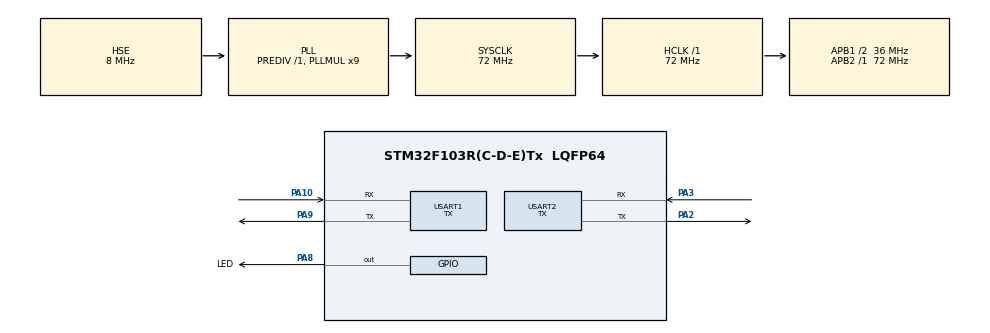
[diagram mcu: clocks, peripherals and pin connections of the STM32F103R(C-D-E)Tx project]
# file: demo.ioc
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Mcu.Family=STM32F1
Mcu.Name=STM32F103R(C-D-E)Tx
Mcu.Package=LQFP64
NVIC.PriorityGroup=NVIC_PRIORITYGROUP_4
NVIC.USART1_IRQn=true\:0\:0\:false\:false\:true\:true\:true\:true
PA10.Mode=Asynchronous
PA10.Signal=USART1_RX
PA13.Mode=Serial_Wire
PA13.Signal=SYS_JTMS-SWDIO
PA14.Mode=Serial_Wire
PA14.Signal=SYS_JTCK-SWCLK
PA2.Mode=Asynchronous
PA2.Signal=USART2_TX
PA3.Mode=Asynchronous
PA3.Signal=USART2_RX
PA8.GPIO_Label=LED
PA8.Signal=GPIO_Output
PA9.Mode=Asynchronous
PA9.Signal=USART1_TX
PD0-OSC_IN.Mode=HSE-External-Oscillator
PD0-OSC_IN.Signal=RCC_OSC_IN
PD1-OSC_OUT.Mode=HSE-External-Oscillator
PD1-OSC_OUT.Signal=RCC_OSC_OUT
ProjectManager.HeapSize=0x200
ProjectManager.StackSize=0x400
ProjectManager.TargetToolchain=MDK-ARM V5
RCC.AHBFreq_Value=72000000
RCC.APB1CLKDivider=RCC_HCLK_DIV2
RCC.APB1Freq_Value=36000000
RCC.APB1TimFreq_Value=72000000
RCC.APB2Freq_Value=72000000
RCC.APB2TimFreq_Value=72000000
RCC.HCLKFreq_Value=72000000
RCC.PLLMUL=RCC_PLL_MUL9
RCC.PLLSourceVirtual=RCC_PLLSOURCE_HSE
RCC.SYSCLKFreq_VALUE=72000000
RCC.SYSCLKSource=RCC_SYSCLKSOURCE_PLLCLK
RCC.USBFreq_Value=72000000
USART1.Mode=MODE_TX
USART1.VirtualMode=VM_ASYNC
USART2.Mode=MODE_TX
USART2.VirtualMode=VM_ASYNC
board=custom

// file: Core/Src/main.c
/* USER CODE BEGIN Header */
/**
 ******************************************************************************
 * @file           : main.c
 * @brief          : Main program body
 ******************************************************************************
 * @attention
 *
 * <h2><center>&copy; Copyright (c) 2022 STMicroelectronics.
 * All rights reserved.</center></h2>
 *
 * This software component is licensed by ST under BSD 3-Clause license,
 * the "License"; You may not use this file except in compliance with the
 * License. You may obtain a copy of the License at:
 *                        opensource.org/licenses/BSD-3-Clause
 *
 ******************************************************************************
 */
/* USER CODE END Header */
#include "main.h"
#include "usart.h"
#include "gpio.h"

void SystemClock_Config(void);

/* USER CODE BEGIN 0 */

#include "lua.h"
#include "lualib.h"
#include "lauxlib.h"
#include "time.h"

time_t time(time_t* time)
{
    return 0;
}

int system(const char* string)
{
    return 0;
}

void exit(int status)
{
}

static int lua_led_on(lua_State* L)
{
    HAL_GPIO_WritePin(LED_GPIO_Port, LED_Pin, GPIO_PIN_SET);
    return 1;
}
static int lua_led_off(lua_State* L)
{
    HAL_GPIO_WritePin(LED_GPIO_Port, LED_Pin, GPIO_PIN_RESET);
    return 1;
}

static int lua_delay(lua_State* L)
{
    HAL_Delay(lua_tointeger(L, 1));
    return 1;
}

static luaL_Reg mylib[] = {
    {"delay", lua_delay},
    {"led_on", lua_led_on},
    {"led_off", lua_led_off},
    {NULL, NULL}};

const char lua_test[] = {
    "off = 500\n"
    "on = 500\n"
    "while 1 do\n"
    " led_on()\n"
		" delay(on)\n"
    " led_off()\n"
    " delay(off)\n"
    "end"};

void lua_run(void)
{
    lua_State* L;
    L = luaL_newstate();
    if (L == NULL) {
        printf("ERR");
        while (1) {};
    }
    luaopen_base(L);
    luaL_setfuncs(L, mylib, 0);
    luaL_dostring(L, lua_test);
    lua_close(L);
}

/* USER CODE END 0 */

int main(void)
{

    /* MCU Configuration--------------------------------------------------------*/

    /* Reset of all peripherals, Initializes the Flash interface and the Systick. */
    HAL_Init();

    /* Configure the system clock */
    SystemClock_Config();

    /* Initialize all configured peripherals */
    MX_GPIO_Init();
    MX_USART1_UART_Init();
    MX_USART2_UART_Init();

    /* Infinite loop */
    /* USER CODE BEGIN WHILE */

    printf("hello lua\r\n");

    lua_run();

    while (1) {
        /* USER CODE END WHILE */

    }
}

void SystemClock_Config(void)
{
    RCC_OscInitTypeDef RCC_OscInitStruct = {0};
    RCC_ClkInitTypeDef RCC_ClkInitStruct = {0};

    /** Initializes the RCC Oscillators according to the specified parameters
     * in the RCC_OscInitTypeDef structure.
     */
    RCC_OscInitStruct.OscillatorType = RCC_OSCILLATORTYPE_HSE;
    RCC_OscInitStruct.HSEState       = RCC_HSE_ON;
    RCC_OscInitStruct.HSEPredivValue = RCC_HSE_PREDIV_DIV1;
    RCC_OscInitStruct.HSIState       = RCC_HSI_ON;
    RCC_OscInitStruct.PLL.PLLState   = RCC_PLL_ON;
    RCC_OscInitStruct.PLL.PLLSource  = RCC_PLLSOURCE_HSE;
    RCC_OscInitStruct.PLL.PLLMUL     = RCC_PLL_MUL9;
    if (HAL_RCC_OscConfig(&RCC_OscInitStruct) != HAL_OK) {
        Error_Handler();
    }

    /** Initializes the CPU, AHB and APB buses clocks
     */
    RCC_ClkInitStruct.ClockType      = RCC_CLOCKTYPE_HCLK | RCC_CLOCKTYPE_SYSCLK | RCC_CLOCKTYPE_PCLK1 | RCC_CLOCKTYPE_PCLK2;
    RCC_ClkInitStruct.SYSCLKSource   = RCC_SYSCLKSOURCE_PLLCLK;
    RCC_ClkInitStruct.AHBCLKDivider  = RCC_SYSCLK_DIV1;
    RCC_ClkInitStruct.APB1CLKDivider = RCC_HCLK_DIV2;
    RCC_ClkInitStruct.APB2CLKDivider = RCC_HCLK_DIV1;

    if (HAL_RCC_ClockConfig(&RCC_ClkInitStruct, FLASH_LATENCY_2) != HAL_OK) {
        Error_Handler();
    }
}

void Error_Handler(void)
{
}
